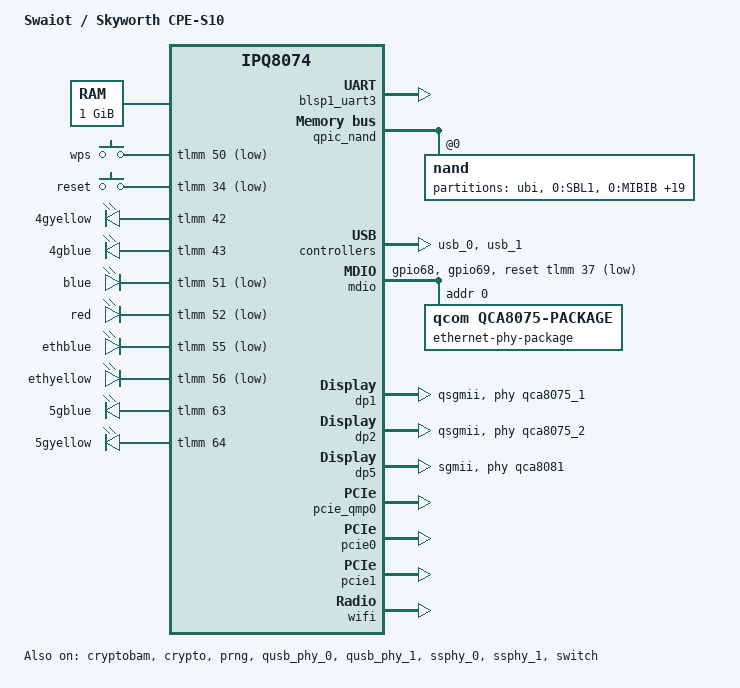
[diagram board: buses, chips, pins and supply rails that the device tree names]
// SPDX-License-Identifier: GPL-2.0-or-later OR MIT
/dts-v1/;

#include "ipq8074.dtsi"
#include "ipq8074-ac-cpu.dtsi"
#include "ipq8074-ess.dtsi"
#include "ipq8074-nss.dtsi"
#include <dt-bindings/gpio/gpio.h>
#include <dt-bindings/input/input.h>
#include <dt-bindings/leds/common.h>

/ {
	model = "Swaiot / Skyworth CPE-S10";
	compatible = "swaiot,cpe-s10", "qcom,ipq8074";

	aliases {
		serial0 = &blsp1_uart3;
		ethernet0 = &dp5; /* WAN - 2.5G */
		ethernet1 = &dp1; /* LAN1 - 1G */
		ethernet2 = &dp2; /* LAN2 - 1G */
	};

	chosen {
		stdout-path = "serial0:115200n8";
		bootargs-append = " swiotlb=1 coherent_pool=2M";
	};

	memory@40000000 {
		device_type = "memory";
		reg = <0x0 0x40000000 0x0 0x40000000>; /* 1GB */
	};

	keys {
		compatible = "gpio-keys";

		wps {
			label = "wps";
			linux,code = <KEY_WPS_BUTTON>;
			gpios = <&tlmm 50 GPIO_ACTIVE_LOW>;
		};

		reset {
			label = "reset";
			linux,code = <KEY_RESTART>;
			gpios = <&tlmm 34 GPIO_ACTIVE_LOW>;
		};
	};

	leds {
		compatible = "gpio-leds";

		/* 4G indicators */
		led_4g_yellow {
			label = "4gyellow";
			gpios = <&tlmm 42 GPIO_ACTIVE_HIGH>;
		};

		led_4g_blue {
			label = "4gblue";
			gpios = <&tlmm 43 GPIO_ACTIVE_HIGH>;
		};

		/* System indicators */
		led_system_blue {
			label = "blue";
			gpios = <&tlmm 51 GPIO_ACTIVE_LOW>;
		};

		led_system_red {
			label = "red";
			gpios = <&tlmm 52 GPIO_ACTIVE_LOW>;
		};

		/* Ethernet indicators */
		led_eth_blue {
			label = "ethblue";
			gpios = <&tlmm 55 GPIO_ACTIVE_LOW>;
		};

		led_eth_yellow {
			label = "ethyellow";
			gpios = <&tlmm 56 GPIO_ACTIVE_LOW>;
		};

		/* 5G indicators */
		led_5g_blue {
			label = "5gblue";
			gpios = <&tlmm 63 GPIO_ACTIVE_HIGH>;
		};

		led_5g_yellow {
			label = "5gyellow";
			gpios = <&tlmm 64 GPIO_ACTIVE_HIGH>;
		};
	};
};

&tlmm {
	mdio_pins: mdio-pins {
		mdc {
			pins = "gpio68";
			function = "mdc";
			drive-strength = <8>;
			bias-pull-up;
		};

		mdio {
			pins = "gpio69";
			function = "mdio";
			drive-strength = <8>;
			bias-pull-up;
		};
	};
};

&blsp1_uart3 {
	status = "okay";
};

&cryptobam {
	status = "okay";
};

&crypto {
	status = "okay";
};

&prng {
	status = "okay";
};

&qpic_nand {
	status = "okay";

	nand@0 {
		reg = <0>;
		nand-ecc-strength = <4>;
		nand-ecc-step-size = <512>;
		nand-bus-width = <8>;

		partitions {
			compatible = "fixed-partitions";
			#address-cells = <1>;
			#size-cells = <1>;

			/* 0. rootfs - 250MB */
			partition@0 {
				label = "ubi";
				reg = <0x00000000 0x0fa00000>;
			};

			/* 1. 0:SBL1 - 320KB */
			partition@fa00000 {
				label = "0:SBL1";
				reg = <0x0fa00000 0x00050000>;
				read-only;
			};

			/* 2. 0:MIBIB - 64KB */
			partition@fa50000 {
				label = "0:MIBIB";
				reg = <0x0fa50000 0x00010000>;
				read-only;
			};

			/* 3. 0:BOOTCONFIG - 128KB */
			partition@fa60000 {
				label = "0:BOOTCONFIG";
				reg = <0x0fa60000 0x00020000>;
				read-only;
			};

			/* 4. 0:BOOTCONFIG1 - 128KB */
			partition@fa80000 {
				label = "0:BOOTCONFIG1";
				reg = <0x0fa80000 0x00020000>;
				read-only;
			};

			/* 5. 0:QSEE - 1.5MB */
			partition@faa0000 {
				label = "0:QSEE";
				reg = <0x0faa0000 0x00180000>;
				read-only;
			};

			/* 6. 0:QSEE_1 - 1.5MB */
			partition@fc20000 {
				label = "0:QSEE_1";
				reg = <0x0fc20000 0x00180000>;
				read-only;
			};

			/* 7. 0:DEVCFG - 64KB */
			partition@fda0000 {
				label = "0:DEVCFG";
				reg = <0x0fda0000 0x00010000>;
				read-only;
			};

			/* 8. 0:DEVCFG_1 - 64KB */
			partition@fdb0000 {
				label = "0:DEVCFG_1";
				reg = <0x0fdb0000 0x00010000>;
				read-only;
			};

			/* 9. 0:APDP - 64KB */
			partition@fdc0000 {
				label = "0:APDP";
				reg = <0x0fdc0000 0x00010000>;
				read-only;
			};

			/* 10. 0:APDP_1 - 64KB */
			partition@fdd0000 {
				label = "0:APDP_1";
				reg = <0x0fdd0000 0x00010000>;
				read-only;
			};

			/* 11. 0:RPM - 256KB */
			partition@fde0000 {
				label = "0:RPM";
				reg = <0x0fde0000 0x00040000>;
				read-only;
			};

			/* 12. 0:RPM_1 - 256KB */
			partition@fe20000 {
				label = "0:RPM_1";
				reg = <0x0fe20000 0x00040000>;
				read-only;
			};

			/* 13. 0:CDT - 64KB */
			partition@fe60000 {
				label = "0:CDT";
				reg = <0x0fe60000 0x00010000>;
				read-only;
			};

			/* 14. 0:CDT_1 - 64KB */
			partition@fe70000 {
				label = "0:CDT_1";
				reg = <0x0fe70000 0x00010000>;
				read-only;
			};

			/* 15. 0:APPSBLENV - 64KB */
			partition@fe80000 {
				label = "0:APPSBLENV";
				reg = <0x0fe80000 0x00010000>;
				read-only;
			};

			/* 16. 0:APPSBL - 640KB */
			partition@fe90000 {
				label = "0:APPSBL";
				reg = <0x0fe90000 0x000a0000>;
				read-only;
			};

			/* 17. 0:APPSBL_1 - 640KB */
			partition@ff30000 {
				label = "0:APPSBL_1";
				reg = <0x0ff30000 0x000a0000>;
				read-only;
			};

			/* 18. 0:ART - 256KB */
			partition@ffd0000 {
				label = "0:ART";
				reg = <0x0ffd0000 0x00040000>;
				read-only;
			};

			/* 19. 0:ETHPHYFW - 512KB */
			partition@10010000 {
				label = "0:ETHPHYFW";
				reg = <0x10010000 0x00080000>;
				read-only;
			};

			/* 20. ledeinfo - 64KB */
			partition@10090000 {
				label = "ledeinfo";
				reg = <0x10090000 0x00010000>;
			};

			/* 21. reserve - 64KB */
			partition@100a0000 {
				label = "reserve";
				reg = <0x100a0000 0x00010000>;
			};
		};
	};
};

&qusb_phy_0 {
	status = "okay";
};

&qusb_phy_1 {
	status = "okay";
};

&ssphy_0 {
	status = "okay";
};

&ssphy_1 {
	status = "okay";
};

&usb_0 {
	status = "okay";
};

&usb_1 {
	status = "okay";
};

&mdio {
	status = "okay";

	pinctrl-0 = <&mdio_pins>;
	pinctrl-names = "default";
	reset-gpios = <&tlmm 37 GPIO_ACTIVE_LOW>;

	ethernet-phy-package@0 {
		compatible = "qcom,qca8075-package";
		#address-cells = <1>;
		#size-cells = <0>;
		reg = <0>;

		qcom,package-mode = "qsgmii";

		/* 1G PHYs for LAN ports */
		qca8075_1: ethernet-phy@0 {
			compatible = "ethernet-phy-ieee802.3-c22";
			reg = <0>;
		};

		qca8075_2: ethernet-phy@1 {
			compatible = "ethernet-phy-ieee802.3-c22";
			reg = <1>;
		};

		/* 2.5G PHY for WAN port */
		qca8081: ethernet-phy@24 {
			compatible = "ethernet-phy-id004d.d101";
			reg = <24>;
			reset-deassert-us = <10000>;
			reset-gpios = <&tlmm 85 GPIO_ACTIVE_LOW>;

			leds {
				#address-cells = <1>;
				#size-cells = <0>;

				led@0 {
					reg = <0>;
					color = <LED_COLOR_ID_GREEN>;
					function = LED_FUNCTION_WAN;
					default-state = "keep";
				};
			};
		};
	};
};

&switch {
	status = "okay";

	switch_lan_bmp = <(ESS_PORT1 | ESS_PORT2)>; /* LAN port bitmap */
	switch_wan_bmp = <ESS_PORT5>; /* WAN port bitmap */
	switch_mac_mode = <MAC_MODE_QSGMII>; /* mac mode for uniphy instance0 */
	switch_mac_mode1 = <MAC_MODE_SGMII_PLUS>; /* mac mode for uniphy instance1 */

	qcom,port_phyinfo {
		port@1 {
			port_id = <1>;
			phy_address = <0>;
		};
		port@2 {
			port_id = <2>;
			phy_address = <1>;
		};
		port@5 {
			port_id = <5>;
			phy_address = <24>;
			port_mac_sel = "QGMAC_PORT";
		};
	};
};

&edma {
	status = "okay";
};

/* LAN1 - 1G */
&dp1 {
	status = "okay";
	phy-mode = "qsgmii";
	phy-handle = <&qca8075_1>;
	label = "lan1";
};

/* LAN2 - 1G */
&dp2 {
	status = "okay";
	phy-mode = "qsgmii";
	phy-handle = <&qca8075_2>;
	label = "lan2";
};

/* WAN - 2.5G */
&dp5 {
	status = "okay";
	phy-mode = "sgmii";
	phy-handle = <&qca8081>;
	label = "wan";
};

&pcie_qmp0 {
	status = "okay";
};

&pcie0 {
	status = "okay";
	// Likely for WiFi
};

&pcie1 {
	status = "okay";
	// Likely for 5G module
};

&wifi {
	status = "okay";
	qcom,ath11k-calibration-variant = "cpe_s10_sky";
};
